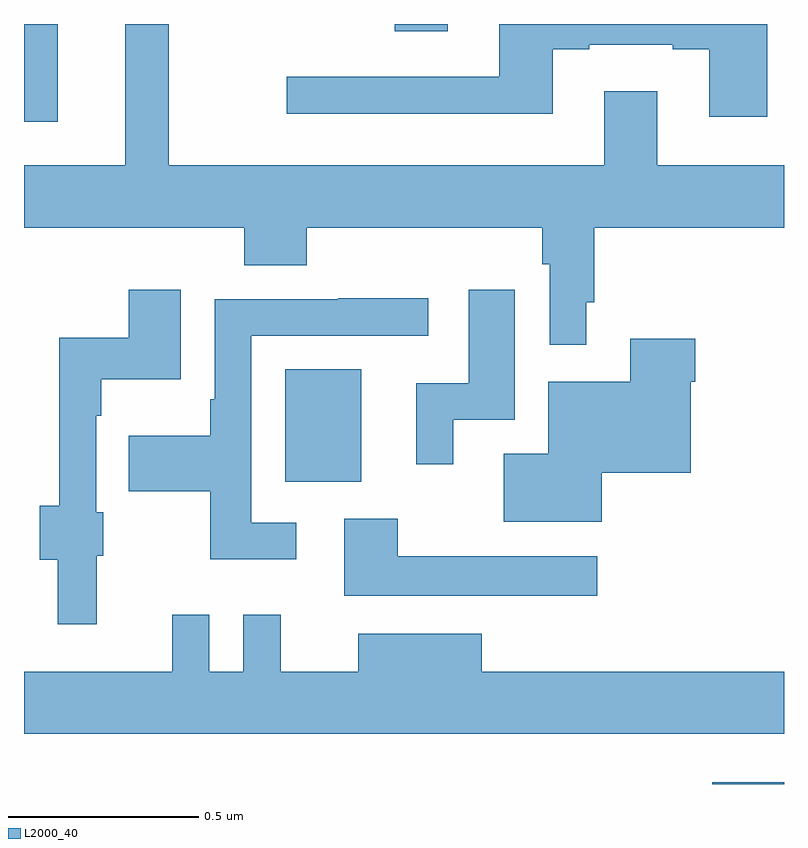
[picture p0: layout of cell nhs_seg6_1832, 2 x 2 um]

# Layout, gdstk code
import gdstk
lib = gdstk.Library(unit=1e-6, precision=1e-09)
def R(c, l, rs):  # rectangles x0, y0, x1, y1
    for r in rs: c.add(gdstk.rectangle(r[:2], r[2:], *l))
def P(c, l, *ps):  # polygons
    for p in ps: c.add(gdstk.Polygon(p, *l))
L2000_40 = (2000, 40)

nhs_seg6_1832 = lib.new_cell('nhs_seg6_1832')
R(nhs_seg6_1832, L2000_40, [(135.811,984.5,136,984.505), (134.687,985.295,134.887,985.591), (134,986.243,134.089,986.5), (134.975,986.481,135.115,986.5)])
P(nhs_seg6_1832, L2000_40, [(134.267,986.5),(134.267,986.128),(134,986.128),(134,985.964),(134.579,985.964),(134.579,985.865),(134.744,985.865),(134.744,985.964),(135.364,985.964),(135.364,985.868),(135.384,985.868),(135.384,985.656),(135.48,985.656),(135.48,985.768),(135.5,985.768),(135.5,985.964),(136,985.964),(136,986.128),(135.667,986.128),(135.667,986.323),(135.527,986.323),(135.527,986.128),(134.381,986.128),(134.381,986.5)],
  [(135.956,986.5),(135.251,986.5),(135.251,986.361),(134.691,986.361),(134.691,986.264),(135.391,986.264),(135.391,986.433),(135.487,986.433),(135.487,986.445),(135.707,986.445),(135.707,986.433),(135.803,986.433),(135.803,986.256),(135.956,986.256)],
  [(134.192,985.101),(134.208,985.101),(134.208,985.215),(134.19,985.215),(134.19,985.469),(134.203,985.469),(134.203,985.565),(134.413,985.565),(134.413,985.801),(134.275,985.801),(134.275,985.675),(134.093,985.675),(134.093,985.232),(134.042,985.232),(134.042,985.09),(134.089,985.09),(134.089,984.921),(134.192,984.921)],
  [(135.13,985.458),(135.292,985.458),(135.292,985.801),(135.17,985.801),(135.17,985.554),(135.032,985.554),(135.032,985.341),(135.13,985.341)],
  [(134.716,985.188),(134.598,985.188),(134.598,985.68),(135.064,985.68),(135.064,985.778),(134.827,985.778),(134.827,985.776),(134.502,985.776),(134.502,985.513),(134.49,985.513),(134.49,985.417),(134.275,985.417),(134.275,985.27),(134.49,985.27),(134.49,985.091),(134.716,985.091)],
  [(135.52,985.319),(135.754,985.319),(135.754,985.559),(135.767,985.559),(135.767,985.672),(135.596,985.672),(135.596,985.558),(135.38,985.558),(135.38,985.369),(135.263,985.369),(135.263,985.19),(135.52,985.19)],
  [(135.508,985.099),(134.983,985.099),(134.983,985.198),(134.843,985.198),(134.843,984.995),(135.508,984.995)],
  [(136,984.796),(135.205,984.796),(135.205,984.895),(134.879,984.895),(134.879,984.796),(134.675,984.796),(134.675,984.946),(134.577,984.946),(134.577,984.796),(134.487,984.796),(134.487,984.946),(134.39,984.946),(134.39,984.796),(134,984.796),(134,984.632),(136,984.632)])

lib.write_gds('nhs_seg6_1832.gds')
